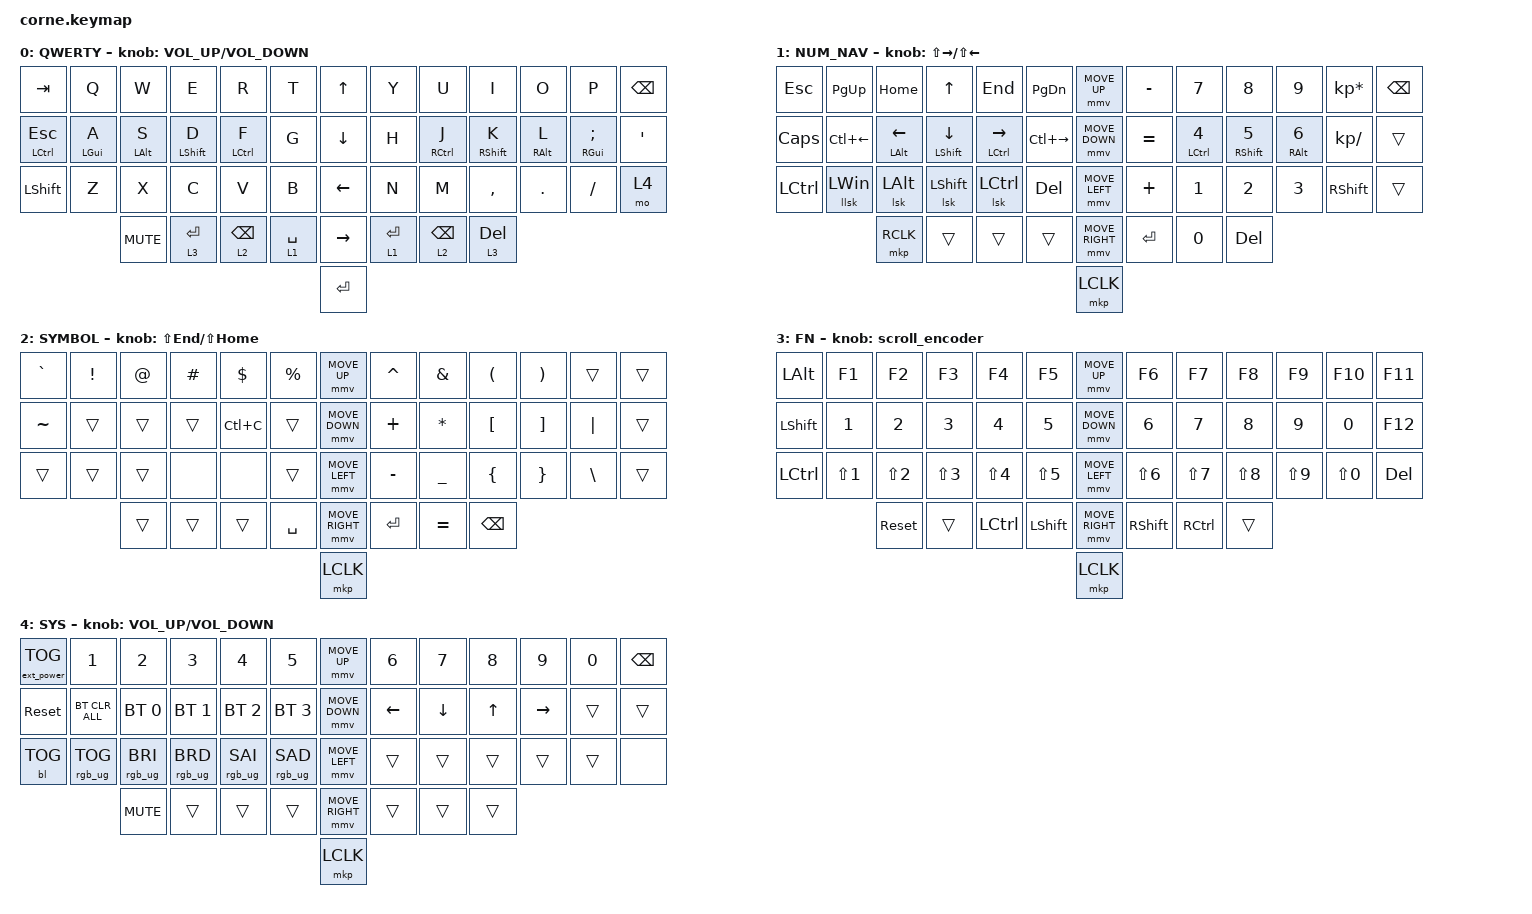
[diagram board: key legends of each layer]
#include <behaviors/mouse_keys.dtsi>
#include <behaviors.dtsi>
#include <dt-bindings/zmk/backlight.h>
#include <dt-bindings/zmk/bt.h>
#include <dt-bindings/zmk/ext_power.h>
#include <dt-bindings/zmk/keys.h>
#include <dt-bindings/zmk/mouse.h>
#include <dt-bindings/zmk/rgb.h>

#define ZMK_MOUSE_DEFAULT_MOVE_VAL 1200  // 600
#define ZMK_MOUSE_DEFAULT_SCRL_VAL 20    // 10
#define U_MS_U &mmv MOVE_UP
#define U_MS_D &mmv MOVE_DOWN
#define U_MS_L &mmv MOVE_LEFT
#define U_MS_R &mmv MOVE_RIGHT

&sk { release-after-ms = <2000>; };

/ {
    behaviors {
        td0: td0 {
            compatible = "zmk,behavior-tap-dance";
            label = "TD0";
            #binding-cells = <0>;
            bindings = <&kp LEFT_SHIFT>, <&kp CAPS>;
        };

        thm_left: timeless_homerow_mods_left {
            compatible = "zmk,behavior-hold-tap";
            #binding-cells = <2>;
            flavor = "balanced";
            bindings = <&kp>, <&kp>;

            // custom timeouts

            tapping-term-ms = <200>;
            quick-tap-ms = <175>;
            require-prior-idle-ms = <100>;
            label = "THM_LEFT";
            hold-trigger-key-positions = <7 8 9 10 11 12 20 21 22 23 24 25 33 34 35 36 37 38>;
            hold-trigger-on-release;
        };

        slt: short_layer_tap {
            compatible = "zmk,behavior-hold-tap";
            #binding-cells = <2>;
            flavor = "tap-preferred";
            bindings = <&mo>, <&kp>;

            // custom timeouts

            tapping-term-ms = <175>;
            quick-tap-ms = <155>;
        };

        lsk: long_sticky_key {
            compatible = "zmk,behavior-sticky-key";
            label = "long sticky key";
            bindings = <&kp>;
            #binding-cells = <1>;
            release-after-ms = <5000>;
            ignore-modifiers;
            quick-release;
        };

        llsk: long-lazy-sk {
            compatible = "zmk,behavior-sticky-key";
            label = "long lazy sk";
            bindings = <&kp>;
            #binding-cells = <1>;
            release-after-ms = <5000>;
            ignore-modifiers;
            lazy;
            quick-release;
        };

        thm_right: timeless_homerow_mods_right {
            compatible = "zmk,behavior-hold-tap";
            #binding-cells = <2>;
            flavor = "balanced";
            bindings = <&kp>, <&kp>;

            tapping-term-ms = <200>;
            quick-tap-ms = <165>;
            require-prior-idle-ms = <100>;
            label = "THM_RIGHT";
            hold-trigger-on-release;
            hold-trigger-key-positions = <0 1 2 3 4 5 13 14 15 16 17 18 26 27 28 29 30 31>;
        };

        hrm_left_shift: hrm_left_shift {
            compatible = "zmk,behavior-hold-tap";
            #binding-cells = <2>;
            flavor = "balanced";
            bindings = <&kp>, <&kp>;

            tapping-term-ms = <150>;
            quick-tap-ms = <175>;
            require-prior-idle-ms = <60>;
            label = "HRM_LEFT_SHIFT";
            hold-trigger-key-positions = <7 8 9 10 11 12 20 21 22 23 24 25 33 34 35 36 37 38>;
            hold-trigger-on-release;
        };

        hrm_right_shift: hrm_right_shift {
            compatible = "zmk,behavior-hold-tap";
            #binding-cells = <2>;
            flavor = "balanced";
            bindings = <&kp>, <&kp>;

            tapping-term-ms = <150>;
            quick-tap-ms = <175>;
            require-prior-idle-ms = <60>;
            label = "HRM_RIGHT_SHIFT";
            hold-trigger-key-positions = <0 1 2 3 4 5 13 14 15 16 17 18 26 27 28 29 30 31>;
            hold-trigger-on-release;
        };

        mmv {
            acceleration-exponent = <1>;      // 1
            time-to-max-speed-ms = <900>;    // 40
            delay-ms = <0>;                   // 0
        };

        msc {
            acceleration-exponent = <1>;      // 0
            time-to-max-speed-ms = <400>;      // 500
            delay-ms = <0>;                   // 10
        };
    };

    rgb_encoder: rgb_encoder {
        compatible = "zmk,behavior-sensor-rotate";
        label = "RGB_ENCODER";
        #sensor-binding-cells = <0>;
        bindings = <&rgb_ug RGB_BRI>, <&rgb_ug RGB_BRD>;
    };

    scroll_encoder: scroll_encoder {
        compatible = "zmk,behavior-sensor-rotate";
        #sensor-binding-cells = <0>;
        bindings = <&msc SCRL_DOWN>, <&msc SCRL_UP>;

        tap-ms = <30>;
    };

    combos {
        compatible = "zmk,combos";

        combo {
            bindings = <&sl 3>;
            key-positions = <42 44>;
            timeout-ms = <75>;
            require-prior-idle-ms = <100>;
            slow-release;
            layers = <0>;
        };

        enter {
            bindings = <&kp KP_ENTER>;
            key-positions = <42 17>;
            timeout-ms = <50>;
            require-prior-idle-ms = <125>;
            layers = <0>;
        };

        parenthesis-left {
            bindings = <&kp LEFT_PARENTHESIS>;
            key-positions = <3 4>;
            require-prior-idle-ms = <100>;
            layers = <0>;
        };

        bracket_left {
            bindings = <&kp LEFT_BRACKET>;
            key-positions = <16 17>;
            require-prior-idle-ms = <100>;
            timeout-ms = <50>;
            layers = <0>;
        };

        eq {
            bindings = <&kp EQUAL>;
            key-positions = <16 17 15>;
            require-prior-idle-ms = <100>;
            timeout-ms = <65>;
            layers = <0>;
        };

        brace_left {
            bindings = <&kp LEFT_BRACE>;
            key-positions = <29 30>;
            require-prior-idle-ms = <100>;
            timeout-ms = <50>;
            layers = <0>;
        };

        brace_right {
            bindings = <&kp RIGHT_BRACE>;
            key-positions = <35 34>;
            slow-release;
            require-prior-idle-ms = <100>;
            layers = <0>;
        };

        bracket_right {
            bindings = <&kp RIGHT_BRACKET>;
            key-positions = <21 22>;
            require-prior-idle-ms = <100>;
            timeout-ms = <65>;
            layers = <0>;
        };

        paren_right {
            bindings = <&kp RIGHT_PARENTHESIS>;
            key-positions = <9 8>;
            require-prior-idle-ms = <100>;
            timeout-ms = <50>;
            layers = <0>;
        };
    };

    keymap {
        compatible = "zmk,keymap";

        Default {
            display-name = "QWERTY";

            // --------------------------------------------------------------------------------
            // |  TAB |  Q  |  W  |  E  |  R  |  T  |                ↑    |  Y  |  U   |  I  |  O  |  P  | BKSP |      &kp UP_ARROW 
            // | SHIFT |  A  |  S  |  D  |  F  |  G  |               ↓    |  H  |  J   |  K  |  L  |  ;  |  '   | 
            // | CTRL |  Z  |  X  |  C  |  V  |  B  |                ←    |  N  |  M   |  ,  |  .  |  /  | ESC  |
            //                    | GUI | LWR | SPC |                →    | ENT | RSE  | ALT |
            //                                                      enter

            bindings = <
&kp TAB                  &kp Q                 &kp W                 &kp E                         &kp R                     &kp T           &kp UP_ARROW     &kp Y         &kp U                       &kp I                           &kp O                   &kp P                      &kp BSPC
&mt LEFT_CONTROL ESCAPE  &thm_left LEFT_GUI A  &thm_left LEFT_ALT S  &hrm_left_shift LEFT_SHIFT D  &thm_left LEFT_CONTROL F  &kp G           &kp DOWN_ARROW   &kp H         &thm_right RIGHT_CONTROL J  &hrm_right_shift RIGHT_SHIFT K  &thm_right RIGHT_ALT L  &thm_right RIGHT_GUI SEMI  &kp SQT
&kp LEFT_SHIFT           &kp Z                 &kp X                 &kp C                         &kp V                     &kp B           &kp LEFT_ARROW   &kp N         &kp M                       &kp COMMA                       &kp DOT                 &kp FSLH                   &mo 4
                                               &kp K_MUTE            &slt 3 ENTER                  &slt 2 BACKSPACE          &slt 1 SPACE    &kp RIGHT_ARROW  &slt 1 ENTER  &slt 2 BACKSPACE            &slt 3 DELETE
                                                                                                                                             &kp ENTER
            >;

            label = "QWERTY";
            sensor-bindings = <&inc_dec_kp C_VOLUME_UP C_VOLUME_DOWN>;
        };

        navigation {
            display-name = "NUM_NAV";

            // -----------------------------------------------------------------------------------------
            // |  TAB |  1  |  2  |  3  |  4  |  5  |   |  6  |  7  |  8  |  9  |  0  | BKSP |
            // | BTCLR| BT1 | BT2 | BT3 | BT4 | BT5 |   | LFT | DWN |  UP | RGT |     |      |
            // | SHFT |     |     |     |     |     |   |     |     |     |     |     |      |
            //                    | GUI |     | SPC |   | ENT |     | ALT |

            bindings = <
&kp ESCAPE        &kp PAGE_UP         &kp HOME                 &kp UP_ARROW                     &kp END                       &kp PAGE_DOWN          &mmv MOVE_UP     &kp MINUS  &kp N7                            &kp N8                                 &kp N9                         &kp KP_MULTIPLY  &kp BSPC
&kp CAPS          &kp LC(LEFT_ARROW)  &thm_left LEFT_ALT LEFT  &hrm_left_shift LEFT_SHIFT DOWN  &thm_left LEFT_CONTROL RIGHT  &kp LC(RIGHT_ARROW)    &mmv MOVE_DOWN   &kp EQUAL  &thm_right LEFT_CONTROL NUMBER_4  &hrm_right_shift RIGHT_SHIFT NUMBER_5  &thm_right RIGHT_ALT NUMBER_6  &kp KP_DIVIDE    &trans
&kp LEFT_CONTROL  &llsk LEFT_WIN      &lsk LEFT_ALT            &lsk LEFT_SHIFT                  &lsk LEFT_CONTROL             &kp DEL                &mmv MOVE_LEFT   &kp PLUS   &kp NUMBER_1                      &kp NUMBER_2                           &kp NUMBER_3                   &kp RIGHT_SHIFT  &trans
                                      &mkp RCLK                &trans                           &trans                        &trans                 &mmv MOVE_RIGHT  &kp ENTER  &kp N0                            &kp DEL
                                                                                                                                                     &mkp LCLK
            >;

            label = "NUMBER";
            sensor-bindings = <&inc_dec_kp LS(RIGHT_ARROW) LS(LEFT_ARROW)>;
        };

        symbol {
            display-name = "SYMBOL";

            // -----------------------------------------------------------------------------------------
            // |  TAB |  !  |  @  |  #  |  $  |  %  |   |  ^  |  &  |  *  |  (  |  )  | BKSP |
            // | CTRL |     |     |     |     |     |   |  -  |  =  |  [  |  ]  |  \  |  `   |
            // | SHFT |     |     |     |     |     |   |  _  |  +  |  {  |  }  | "|" |  ~   |
            //                    | GUI |     | SPC |   | ENT |     | ALT |

            bindings = <
&kp GRAVE  &kp EXCL  &kp AT  &kp HASH  &kp DLLR   &kp PRCNT    &mmv MOVE_UP     &kp CARET  &kp AMPS      &kp LEFT_PARENTHESIS  &kp RIGHT_PARENTHESIS  &trans         &trans
&kp TILDE  &trans    &trans  &trans    &kp LC(C)  &trans       &mmv MOVE_DOWN   &kp PLUS   &kp ASTERISK  &kp LBKT              &kp RIGHT_BRACKET      &kp PIPE       &trans
&trans     &trans    &trans  &none     &none      &trans       &mmv MOVE_LEFT   &kp MINUS  &kp UNDER     &kp LEFT_BRACE        &kp RIGHT_BRACE        &kp BACKSLASH  &trans
                     &trans  &trans    &trans     &kp SPACE    &mmv MOVE_RIGHT  &kp RET    &kp EQUAL     &kp BACKSPACE
                                                               &mkp LCLK
            >;

            label = "SYMBOL";
            sensor-bindings = <&inc_dec_kp LS(END) LS(HOME)>;
        };

        func {
            display-name = "FN";
            bindings = <
&kp LEFT_ALT      &kp F1            &kp F2            &kp F3            &kp F4            &kp F5              &mmv MOVE_UP     &kp F6            &kp F7             &kp F8            &kp F9            &kp F10           &kp F11
&kp LEFT_SHIFT    &kp NUMBER_1      &kp NUMBER_2      &kp NUMBER_3      &kp NUMBER_4      &kp NUMBER_5        &mmv MOVE_DOWN   &kp NUMBER_6      &kp NUMBER_7       &kp NUMBER_8      &kp NUMBER_9      &kp NUMBER_0      &kp F12
&kp LEFT_CONTROL  &kp LS(NUMBER_1)  &kp LS(NUMBER_2)  &kp LS(NUMBER_3)  &kp LS(NUMBER_4)  &kp LS(NUMBER_5)    &mmv MOVE_LEFT   &kp LS(NUMBER_6)  &kp LS(NUMBER_7)   &kp LS(NUMBER_8)  &kp LS(NUMBER_9)  &kp LS(NUMBER_0)  &kp DEL
                                    &sys_reset        &trans            &kp LEFT_CONTROL  &kp LEFT_SHIFT      &mmv MOVE_RIGHT  &kp RIGHT_SHIFT   &kp RIGHT_CONTROL  &trans
                                                                                                              &mkp LCLK
            >;

            label = "FN";
            sensor-bindings = <&scroll_encoder>;
        };

        system {
            label = "SYS";
            display-name = "SYS";
            bindings = <
&ext_power EP_TOG  &kp N1           &kp N2           &kp N3           &kp N4           &kp N5             &mmv MOVE_UP     &kp N6    &kp N7    &kp N8  &kp N9     &kp N0  &kp BSPC
&sys_reset         &bt BT_CLR_ALL   &bt BT_SEL 0     &bt BT_SEL 1     &bt BT_SEL 2     &bt BT_SEL 3       &mmv MOVE_DOWN   &kp LEFT  &kp DOWN  &kp UP  &kp RIGHT  &trans  &trans
&bl BL_TOG         &rgb_ug RGB_TOG  &rgb_ug RGB_BRI  &rgb_ug RGB_BRD  &rgb_ug RGB_SAI  &rgb_ug RGB_SAD    &mmv MOVE_LEFT   &trans    &trans    &trans  &trans     &trans  &none
                                    &kp C_MUTE       &trans           &trans           &trans             &mmv MOVE_RIGHT  &trans    &trans    &trans
                                                                                                          &mkp LCLK
            >;

            sensor-bindings = <&inc_dec_kp K_VOLUME_UP K_VOLUME_DOWN>;
        };
    };
};
